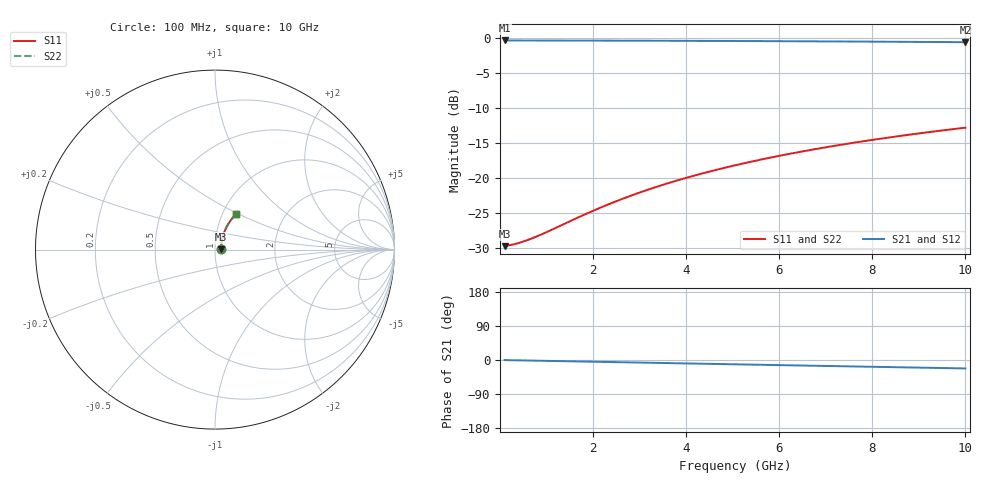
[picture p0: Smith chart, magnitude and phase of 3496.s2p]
# Hz S RI R 50.00
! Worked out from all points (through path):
!   100 points, 100 MHz to 10 GHz, reference 50 ohm
!   highest |S21| = -0.28 dB at 100 MHz (marker M1); lowest = -0.5 dB at 10 GHz (marker M2)
!   group delay of S21, straight-line fit = 6.19 ps
!   lowest |S11| = -29.8 dB at 100 MHz (marker M3), VSWR 1.07, Z = 53.3 + j0.24 ohm
!   |S11| at or under -10 dB: start of sweep to end of sweep
!   |S22| runs from -29.8 to -12.8 dB; largest |S21 - S12| = 0
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1e8  0.0323 0.00224  0.9677 -0.00383  0.9677 -0.00383  0.0323 0.00224
3e8  0.0327 0.00672  0.9673 -0.0115  0.9673 -0.0115  0.0327 0.00672
4e8  0.0329 0.00896  0.9671 -0.0153  0.9671 -0.0153  0.0329 0.00896
5e8  0.0331 0.0112  0.9669 -0.0191  0.9669 -0.0191  0.0331 0.0112
7e8  0.0334 0.0157  0.9665 -0.0268  0.9665 -0.0268  0.0334 0.0157
1e9  0.0341 0.0224  0.9658 -0.0382  0.9658 -0.0382  0.0341 0.0224
1.8e9  0.0365 0.0401  0.9631 -0.0686  0.9631 -0.0686  0.0365 0.0401
2.2e9  0.038 0.0489  0.9613 -0.0837  0.9613 -0.0837  0.038 0.0489
2.6e9  0.0399 0.0576  0.9592 -0.0988  0.9592 -0.0988  0.0399 0.0576
3e9  0.0419 0.0662  0.9569 -0.1138  0.9569 -0.1138  0.0419 0.0662
3.4e9  0.0443 0.0748  0.9542 -0.1287  0.9542 -0.1287  0.0443 0.0748
3.8e9  0.0469 0.0833  0.9512 -0.1436  0.9512 -0.1436  0.0469 0.0833
4.2e9  0.0497 0.0917  0.9479 -0.1583  0.9479 -0.1583  0.0497 0.0917
4.6e9  0.0529 0.1  0.9444 -0.1729  0.9444 -0.1729  0.0529 0.1
5.1e9  0.0571 0.1101  0.9395 -0.1911  0.9395 -0.1911  0.0571 0.1101
5.5e9  0.0608 0.1181  0.9353 -0.2054  0.9353 -0.2054  0.0608 0.1181
5.9e9  0.0647 0.126  0.9308 -0.2196  0.9308 -0.2196  0.0647 0.126
6.7e9  0.0731 0.1413  0.921 -0.2476  0.921 -0.2476  0.0731 0.1413
7.5e9  0.0825 0.1559  0.9102 -0.275  0.9102 -0.275  0.0825 0.1559
8.4e9  0.094 0.1716  0.8968 -0.305  0.8968 -0.305  0.094 0.1716
9.2e9  0.1051 0.1847  0.8839 -0.3309  0.8839 -0.3309  0.1051 0.1847
1e10  0.1168 0.197  0.8701 -0.356  0.8701 -0.356  0.1168 0.197
